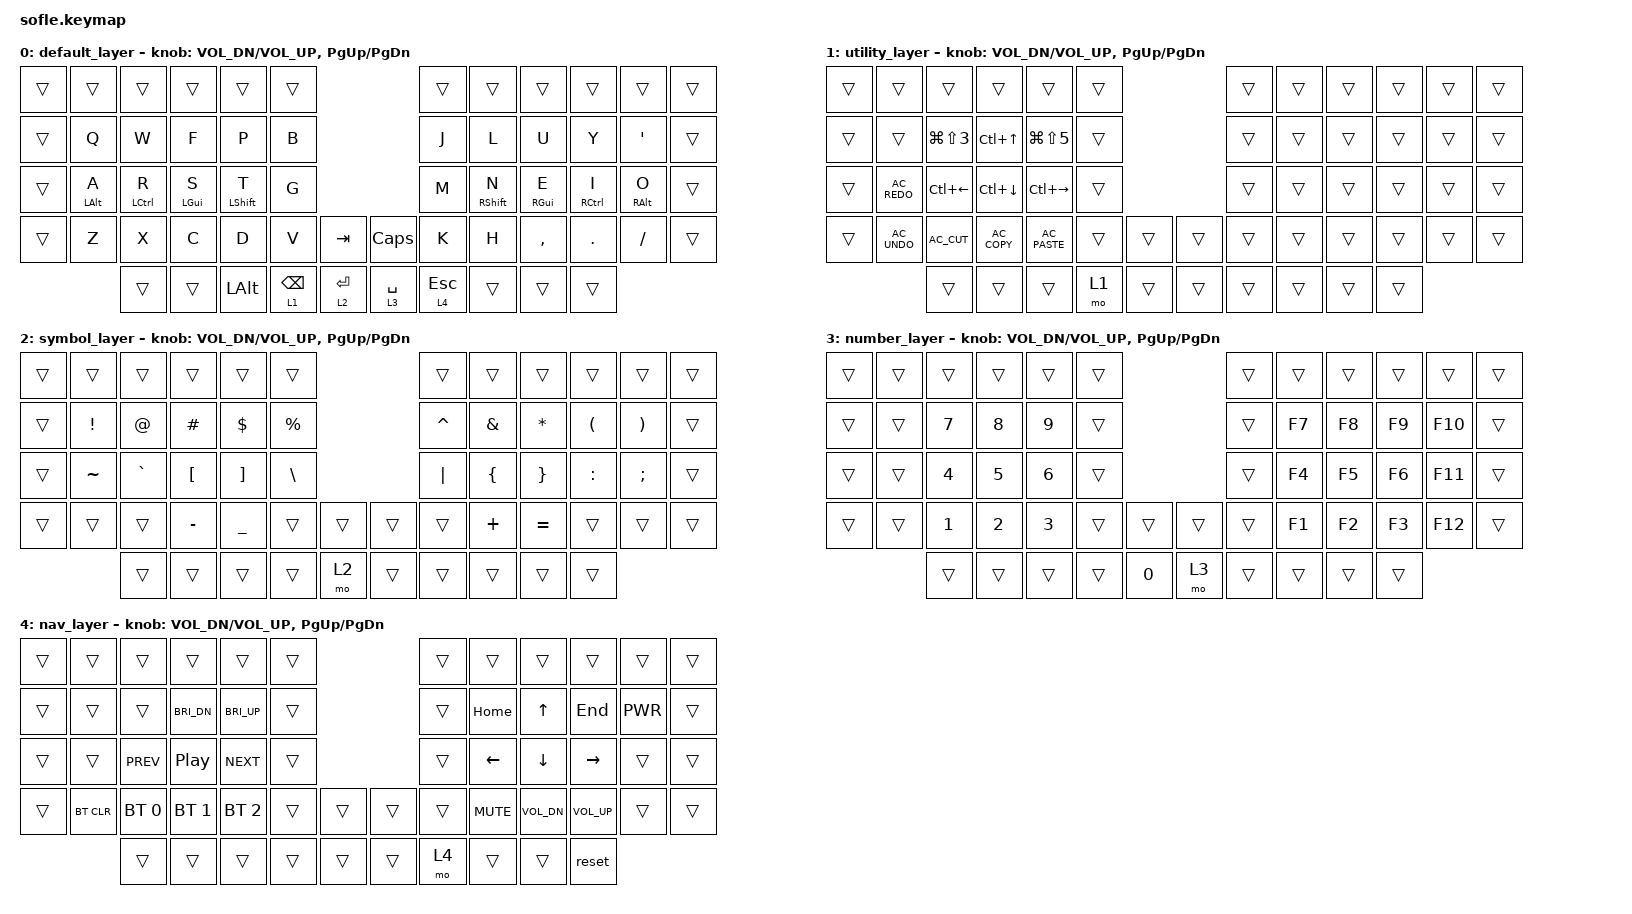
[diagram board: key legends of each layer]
#include <behaviors.dtsi>
#include <dt-bindings/zmk/keys.h>
#include <dt-bindings/zmk/bt.h>


/ {

    behaviors {
        hm: homerow_mods {
            compatible = "zmk,behavior-hold-tap";
            label = "HOMEROW_MODS";
            #binding-cells = <2>;
            tapping-term-ms = <250>;
            quick-tap-ms = <0>;
            flavor = "tap-preferred";
            bindings = <&kp>, <&kp>;
        };
    };


    keymap {
        compatible = "zmk,keymap";

        default_layer {
            bindings = <
&trans  &trans      &trans         &trans      &trans       &trans                       &trans &trans       &trans      &trans         &trans      &trans
&trans  &kp Q       &kp W          &kp F       &kp P        &kp B                        &kp J  &kp L        &kp U       &kp Y          &kp APOS    &trans
&trans  &hm LALT A  &hm LCTRL R    &hm LGUI S  &hm LSHFT T  &kp G                        &kp M  &hm RSHFT N  &hm RGUI E  &hm RCTRL I    &hm RALT O  &trans
&trans  &kp Z       &kp X          &kp C       &kp D        &kp V  &kp TAB   &kp CAPS   &kp K  &kp H       &kp COMMA    &kp DOT        &kp FSLH    &trans
        &trans      &trans         &kp LALT      &lt 1 BSPC   &lt 2 RET        &lt 3 SPACE &lt 4 ESC  &trans    &trans   &trans
            >;

            sensor-bindings = <&inc_dec_kp C_VOL_DN C_VOL_UP &inc_dec_kp PG_UP PG_DN>;
        };


        utility_layer {
            bindings = <
&trans    &trans    &trans    &trans     &trans   &trans                    &trans    &trans   &trans     &trans  &trans  &trans
&trans    &trans    &kp LG(LS(N3))    &kp LC(UP) &kp LG(LS(N5))   &trans                    &trans    &trans   &trans     &trans  &trans  &trans
&trans    &kp C_AC_REDO &kp LC(LEFT) &kp LC(DOWN) &kp LC(RIGHT)   &trans                    &trans    &trans   &trans     &trans  &trans  &trans
&trans    &kp C_AC_UNDO &kp C_AC_CUT &kp C_AC_COPY &kp C_AC_PASTE   &trans  &trans   &trans   &trans    &trans   &trans     &trans  &trans  &trans
                    &trans    &trans     &trans   &mo 1   &trans   &trans   &trans    &trans   &trans     &trans
            >;

            sensor-bindings = <&inc_dec_kp C_VOL_DN C_VOL_UP &inc_dec_kp PG_UP PG_DN>;
        };

        symbol_layer {
            bindings = <
&trans    &trans    &trans    &trans     &trans   &trans                    &trans    &trans   &trans     &trans    &trans    &trans
&trans    &kp EXCL  &kp AT    &kp HASH   &kp DLLR &kp PRCNT                 &kp CARET &kp AMPS &kp STAR   &kp LPAR  &kp RPAR  &trans
&trans    &kp TILDE &kp GRAVE &kp LBKT   &kp RBKT &kp BSLH                  &kp PIPE  &kp LBRC &kp RBRC   &kp COLON &kp SEMI  &trans
&trans    &trans    &trans    &kp MINUS  &kp UNDER &trans  &trans   &trans   &trans   &kp PLUS &kp EQUAL  &trans    &trans    &trans
                    &trans    &trans     &trans   &trans  &mo 2    &trans   &trans    &trans   &trans     &trans
            >;

            sensor-bindings = <&inc_dec_kp C_VOL_DN C_VOL_UP &inc_dec_kp PG_UP PG_DN>;
        };

        number_layer {
            bindings = <
&trans    &trans    &trans    &trans     &trans   &trans                    &trans    &trans   &trans     &trans  &trans   &trans
&trans    &trans    &kp N7    &kp N8     &kp N9   &trans                    &trans    &kp F7   &kp F8     &kp F9  &kp F10  &trans
&trans    &trans    &kp N4    &kp N5     &kp N6   &trans                    &trans    &kp F4   &kp F5     &kp F6  &kp F11  &trans
&trans    &trans    &kp N1    &kp N2     &kp N3   &trans  &trans   &trans   &trans    &kp F1   &kp F2     &kp F3  &kp F12  &trans
                    &trans    &trans     &trans   &trans  &kp N0    &mo 3   &trans    &trans   &trans     &trans
            >;

            sensor-bindings = <&inc_dec_kp C_VOL_DN C_VOL_UP &inc_dec_kp PG_UP PG_DN>;
        };


        nav_layer {
            bindings = <
&trans  &trans      &trans        &trans        &trans        &trans                         &trans    &trans    &trans   &trans    &trans  &trans
&trans  &trans      &trans        &kp C_BRI_DN  &kp C_BRI_UP  &trans                         &trans    &kp HOME  &kp UP   &kp END   &kp C_PWR  &trans
&trans  &trans      &kp C_PREV    &kp C_PP      &kp C_NEXT    &trans                         &trans    &kp LEFT  &kp DOWN &kp RIGHT &trans  &trans
&trans  &bt BT_CLR  &bt BT_SEL 0  &bt BT_SEL 1  &bt BT_SEL 2  &trans  &trans   &trans  &trans     &kp C_MUTE   &kp C_VOL_DN    &kp C_VOL_UP &trans &trans
                        &trans       &trans       &trans      &trans  &trans   &trans  &mo 4     &trans    &trans   &reset
            >;

            sensor-bindings = <&inc_dec_kp C_VOL_DN C_VOL_UP &inc_dec_kp PG_UP PG_DN>;
        };
    };
};
